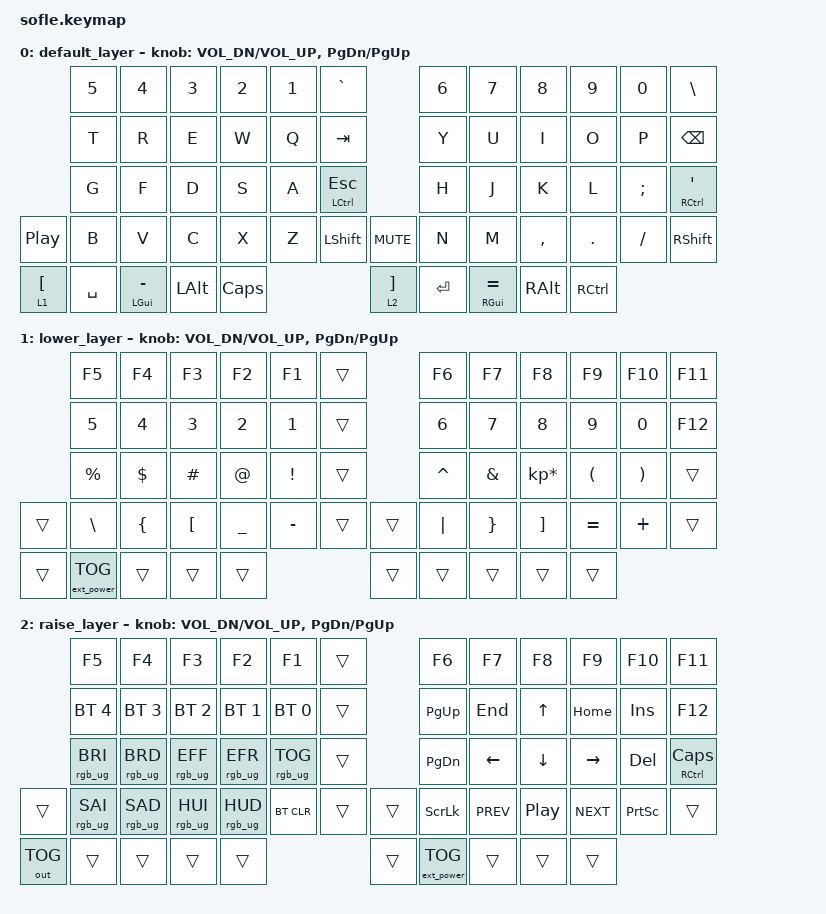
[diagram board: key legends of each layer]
/*
 * Copyright (c) 2020 The ZMK Contributors
 *
 * SPDX-License-Identifier: MIT
 */

#include <behaviors.dtsi>
#include <dt-bindings/zmk/keys.h>
#include <dt-bindings/zmk/bt.h>
#include <dt-bindings/zmk/ext_power.h>
#include <dt-bindings/zmk/rgb.h>

/ {
    keymap {
        compatible = "zmk,keymap";

//         default_layer {
// ------------------------------------------------------------------------------------------------------------
// |  `    |  1  |  2  |  3   |  4   |  5   |                   |  6   |  7    |  8    |  9   |   0   |   \   |
// |  TAB  |  Q  |  W  |  E   |  R   |  T   |                   |  Y   |  U    |  I    |  O   |   P   | BKSPC |
// | C/ESC |  A  |  S  |  D   |  F   |  G   |                   |  H   |  J    |  K    |  L   |   ;   |  C/'  |
// | SHIFT |  Z  |  X  |  C   |  V   |  B   |  MUTE  |  | PLAY  |  N   |  M    |  ,    |  .   |   /   | SHIFT |
//               | CAPS| ALT  | GUI/-| SPACE|LOWER/[ |  |RAISE/]| ENTER|  GUI/=|  ALT  | CTRL |
//            bindings = <
// &kp GRAVE     &kp N1 &kp N2    &kp N3    &kp N4         &kp N5                           &kp N6  &kp N7         &kp N8    &kp N9   &kp N0   &kp BSLH
// &kp TAB       &kp Q  &kp W     &kp E     &kp R          &kp T                            &kp Y   &kp U          &kp I     &kp O    &kp P    &kp BSPC
// &mt LCTRL ESC &kp A  &kp S     &kp D     &kp F          &kp G                            &kp H   &kp J          &kp K     &kp L    &kp SEMI &mt RCTRL SQT
// &kp LSHFT     &kp Z  &kp X     &kp C     &kp V          &kp B     &kp C_MUTE  &kp C_PP   &kp N   &kp M          &kp COMMA &kp DOT  &kp FSLH &kp RSHFT
//                      &kp CLCK  &kp LALT  &mt LGUI MINUS &kp SPACE &lt 1 LBKT  &lt 2 RBKT &kp RET &mt RGUI EQUAL &kp RALT  &kp RCTRL
//             >;
// 
//             sensor-bindings = <&inc_dec_kp C_VOL_DN C_VOL_UP &inc_dec_kp PG_DN PG_UP>;
//         };

        default_layer {
// ------------------------------------------------------------------------------------------------------------
// |  `    |  1  |  2  |  3   |  4   |  5   |                   |  6   |  7    |  8    |  9   |   0   |   \   |
// |  TAB  |  Q  |  W  |  E   |  R   |  T   |                   |  Y   |  U    |  I    |  O   |   P   | BKSPC |
// | C/ESC |  A  |  S  |  D   |  F   |  G   |                   |  H   |  J    |  K    |  L   |   ;   |  C/'  |
// | SHIFT |  Z  |  X  |  C   |  V   |  B   |  PLAY  |  | MUTE  |  N   |  M    |  ,    |  .   |   /   | SHIFT |
//               | CAPS| ALT  | GUI/-| SPACE|LOWER/[ |  |RAISE/]| ENTER|  GUI/=|  ALT  | CTRL |
            bindings = <
            &kp N5      &kp N4          &kp N3    &kp N2    &kp N1  &kp GRAVE                   &kp N6  &kp N7         &kp N8    &kp N9   &kp N0   &kp BSLH
            &kp T       &kp R           &kp E     &kp W     &kp Q   &kp TAB                     &kp Y   &kp U          &kp I     &kp O    &kp P    &kp BSPC
            &kp G       &kp F           &kp D     &kp S     &kp A   &mt LCTRL ESC               &kp H   &kp J          &kp K     &kp L    &kp SEMI &mt RCTRL SQT
&kp C_PP    &kp B       &kp V           &kp C     &kp X     &kp Z   &kp LSHFT       &kp C_MUTE  &kp N   &kp M          &kp COMMA &kp DOT  &kp FSLH &kp RSHFT
&lt 1 LBKT  &kp SPACE   &mt LGUI MINUS  &kp LALT  &kp CLCK                          &lt 2 RBKT  &kp RET &mt RGUI EQUAL &kp RALT  &kp RCTRL
            >;

            sensor-bindings = <&inc_dec_kp C_VOL_DN C_VOL_UP &inc_dec_kp PG_DN PG_UP>;
        };

//         lower_layer {
// ------------------------------------------------------------------------------------------------------------
// |       |  F1 |  F2 |  F3  |  F4  |  F5  |                   |  F6  |  F7   |  F8   |  F9  |  F10  |  F11  |
// |       |   1 |   2 |   3  |   4  |   5  |                   |   6  |   7   |   8   |   9  |    0  |  F12  |
// |       |  !  |  @  |  #   |  $   |  %   |                   |  ^   |  &    |  *    |  (   |   )   |       |
// |       |  -  |  _  |  [   |  {   |  \   |        |  |       |  |   |  }    |  ]    |  =   |   +   |       |
//               |     |      |      |      |        |  |       |      |       |       |      |
//             bindings = <
// &trans &kp F1    &kp F2    &kp F3   &kp F4    &kp F5                           &kp F6    &kp F7   &kp F8          &kp F9    &kp F10   &kp F11
// &trans &kp N1    &kp N2    &kp N3   &kp N4    &kp N5                           &kp N6    &kp N7   &kp N8          &kp N9    &kp N0    &kp F12
// &trans &kp EXCL  &kp AT    &kp HASH &kp DLLR  &kp PRCNT                        &kp CARET &kp AMPS &kp KP_MULTIPLY &kp LPAR  &kp RPAR  &trans
// &trans &kp MINUS &kp UNDER &kp LBKT &kp LBRC  &kp BSLH          &trans  &trans &kp PIPE  &kp RBRC &kp RBKT        &kp EQUAL &kp PLUS  &trans
//                  &trans    &trans   &trans    &ext_power EP_TOG &trans  &trans &trans    &trans   &trans          &trans
//             >;
// 
//             sensor-bindings = <&inc_dec_kp C_VOL_DN C_VOL_UP &inc_dec_kp PG_DN PG_UP>;
//         };

        lower_layer {
// ------------------------------------------------------------------------------------------------------------
// |       |  F1 |  F2 |  F3  |  F4  |  F5  |                   |  F6  |  F7   |  F8   |  F9  |  F10  |  F11  |
// |       |   1 |   2 |   3  |   4  |   5  |                   |   6  |   7   |   8   |   9  |    0  |  F12  |
// |       |  !  |  @  |  #   |  $   |  %   |                   |  ^   |  &    |  *    |  (   |   )   |       |
// |       |  -  |  _  |  [   |  {   |  \   |        |  |       |  |   |  }    |  ]    |  =   |   +   |       |
//               |     |      |      |      |        |  |       |      |       |       |      |
            bindings = <
        &kp F5      &kp F4    &kp F3    &kp F2      &kp F1    &trans            &kp F6    &kp F7   &kp F8          &kp F9    &kp F10   &kp F11
        &kp N5      &kp N4    &kp N3    &kp N2      &kp N1    &trans            &kp N6    &kp N7   &kp N8          &kp N9    &kp N0    &kp F12
        &kp PRCNT   &kp DLLR  &kp HASH  &kp AT      &kp EXCL  &trans            &kp CARET &kp AMPS &kp KP_MULTIPLY &kp LPAR  &kp RPAR  &trans
&trans  &kp BSLH    &kp LBRC  &kp LBKT  &kp UNDER   &kp MINUS &trans    &trans  &kp PIPE  &kp RBRC &kp RBKT        &kp EQUAL &kp PLUS  &trans
&trans  &ext_power EP_TOG   &trans    &trans    &trans                  &trans  &trans    &trans   &trans          &trans
            >;

            sensor-bindings = <&inc_dec_kp C_VOL_DN C_VOL_UP &inc_dec_kp PG_DN PG_UP>;
        };

//         raise_layer {
// ------------------------------------------------------------------------------------------------------------
// |     |  F1  |  F2  |  F3   |  F4   |  F5  |                |  F6  |  F7  |  F8   |  F9  |  F10  |  F11  |
// |     | BT1  | BT2  |  BT3  |  BT4  |  BT5 |                | PGUP |  END |   ^   | HOME |  INS  |  F12  |
// |     | RGBT | RGB- | RGB+  |  BR-  |  BR+ |                | PGDN |   <- |   v   | ->   |  DEL  | C/CAPS|
// |     |BTCLR | HUD  | HUI   |  SAD  |  SAI |      |  |      | SCRL | PRVS | PLAY  | NEXT |  PSCR |       |
//              |      |       |       |      |      |  |      |      |      |       |      |
//             bindings = <
// &trans &kp F1          &kp F2          &kp F3          &kp F4          &kp F5                         &kp F6             &kp F7     &kp F8   &kp F9     &kp F10   &kp F11
// &trans &bt BT_SEL 0    &bt BT_SEL 1    &bt BT_SEL 2    &bt BT_SEL 3    &bt BT_SEL 4                   &kp PG_UP          &kp END    &kp UP   &kp HOME   &kp INS   &kp F12
// &trans &rgb_ug RGB_TOG &rgb_ug RGB_EFR &rgb_ug RGB_EFF &rgb_ug RGB_BRD &rgb_ug RGB_BRI                &kp PG_DN          &kp LEFT   &kp DOWN &kp RIGHT  &kp DEL   &mt RCTRL CLCK
// &trans &bt BT_CLR      &rgb_ug RGB_HUD &rgb_ug RGB_HUI &rgb_ug RGB_SAD &rgb_ug RGB_SAI &trans  &trans &kp SLCK           &kp C_PREV &kp C_PP &kp C_NEXT &kp PSCRN &trans
//                        &trans          &trans          &trans          &trans          &trans  &trans &ext_power EP_TOG  &trans     &trans   &trans
//             >;
// 
//             sensor-bindings = <&inc_dec_kp C_VOL_DN C_VOL_UP &inc_dec_kp PG_DN PG_UP>;
//         };

        raise_layer {
// ------------------------------------------------------------------------------------------------------------
// |     |  F1  |  F2  |  F3   |  F4   |  F5  |                |  F6  |  F7  |  F8   |  F9  |  F10  |  F11  |
// |     | BT1  | BT2  |  BT3  |  BT4  |  BT5 |                | PGUP |  END |   ^   | HOME |  INS  |  F12  |
// |     | RGBT | RGB- | RGB+  |  BR-  |  BR+ |                | PGDN |   <- |   v   | ->   |  DEL  | C/CAPS|
// |     |BTCLR | HUD  | HUI   |  SAD  |  SAI |      |  |      | SCRL | PRVS | PLAY  | NEXT |  PSCR |       |
//              |      |       |       |      |      |  |      |      |      |       |      |
            bindings = <
                &kp F5          &kp F4          &kp F3          &kp F2          &kp F1          &trans              &kp F6             &kp F7     &kp F8   &kp F9     &kp F10   &kp F11
                &bt BT_SEL 4    &bt BT_SEL 3    &bt BT_SEL 2    &bt BT_SEL 1    &bt BT_SEL 0    &trans              &kp PG_UP          &kp END    &kp UP   &kp HOME   &kp INS   &kp F12
                &rgb_ug RGB_BRI &rgb_ug RGB_BRD &rgb_ug RGB_EFF &rgb_ug RGB_EFR &rgb_ug RGB_TOG &trans              &kp PG_DN          &kp LEFT   &kp DOWN &kp RIGHT  &kp DEL   &mt RCTRL CLCK
&trans          &rgb_ug RGB_SAI &rgb_ug RGB_SAD &rgb_ug RGB_HUI &rgb_ug RGB_HUD &bt BT_CLR      &trans      &trans  &kp SLCK           &kp C_PREV &kp C_PP &kp C_NEXT &kp PSCRN &trans
&out OUT_TOG    &trans          &trans          &trans          &trans                                      &trans  &ext_power EP_TOG  &trans     &trans   &trans
            >;

            sensor-bindings = <&inc_dec_kp C_VOL_DN C_VOL_UP &inc_dec_kp PG_DN PG_UP>;
        };
    };
};
